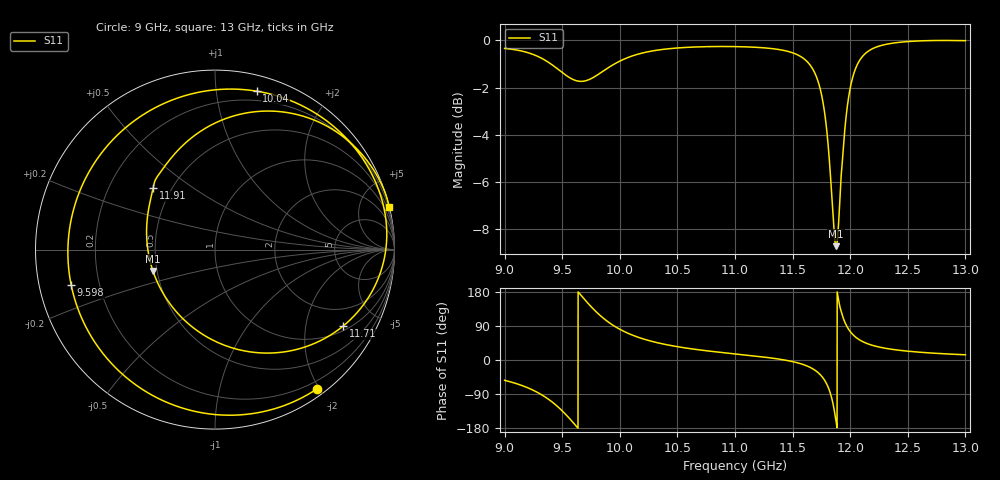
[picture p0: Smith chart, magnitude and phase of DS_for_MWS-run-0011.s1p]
! TOUCHSTONE file generated by CST DESIGN STUDIO
! Date and time: Tue Feb  4 16:41:47 2025
! Project name: C:\Work\MatlabApps\UnitCellOptimizationMatlab\CST\unitcell.cst
! Tree item: Tasks\Sweep1\SPara1\S-Parameters
! Header version: 2024
! Port assignment regex: !\s*Touchstone port\s*([0-9]+)\s*=\s*(CST MWS port|CST DES external port|CST DES block port)\s*(.+)\s* \(\"(.*)\"\)(\s*mode\s*([0-9]+))?.*
! Touchstone port assignment:
! Touchstone port 1 = CST DES external port 1 ("")
# GHz S MA R 50
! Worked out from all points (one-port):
!   4001 points, 9 GHz to 13 GHz, reference 50 ohm
!   lowest |S11| = -8.7 dB at 11.88 GHz (marker M1), VSWR 2.15, Z = 23.7 - j6.51 ohm
!   |S11| at or under -10 dB: nowhere
!   S11 on the Smith chart (normalised r, x): 9 GHz: 0.10, -1.97; 9.598 GHz: 0.10, -0.12; 10.04 GHz: 0.12, +1.29; 11.71 GHz: 1.17, -3.22; 11.91 GHz: 0.40, +0.35; 13 GHz: 0.05, +8.29
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9  0.9618 -53.6
9.166  0.9472 -69.1
9.318  0.9173 -91.1
9.414  0.8869 -111.1
9.5  0.8549 -134.2
9.598  0.8253 -166.2
9.691  0.8197 160.9
9.801  0.8433 125.4
9.892  0.8725 102.0
10  0.9038 81.1
10.037  0.9126 75.3
10.238  0.9453 52.5
10.5  0.9638 35.1
11  0.9703 16.1
11.5  0.9413 -4.2
11.628  0.9007 -16.1
11.712  0.8307 -30.9
11.764  0.7386 -47.3
11.812  0.5862 -74.1
11.844  0.4502 -106.0
11.877  0.3656 -161.0
11.915  0.4859 135.3
11.956  0.6575 98.1
12  0.7918 75.2
12.072  0.8986 54.9
12.164  0.9513 41.5
12.5  0.9944 23.3
13  0.9987 13.8
